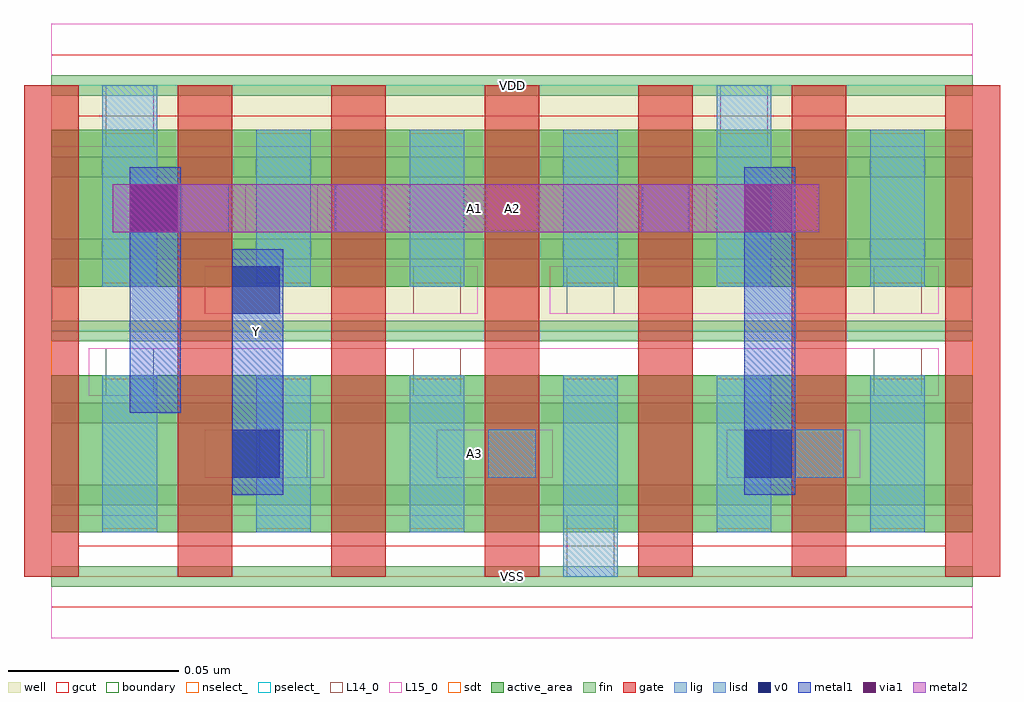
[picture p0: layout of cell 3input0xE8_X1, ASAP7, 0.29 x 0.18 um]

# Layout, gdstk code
import gdstk
lib = gdstk.Library(unit=1e-6, precision=1e-09)
def R(c, l, rs):  # rectangles x0, y0, x1, y1
    for r in rs: c.add(gdstk.rectangle(r[:2], r[2:], *l))
def A(c, l, x, y, w, h, nx, ny, dx, dy):  # array of equal rectangles
    R(c, l, [(x+i*dx, y+j*dy, x+i*dx+w, y+j*dy+h) for i in range(nx) for j in range(ny)])
def P(c, l, *ps):  # polygons
    for p in ps: c.add(gdstk.Polygon(p, *l))
well = (1, 0)
fin = (2, 0)
gate = (7, 0)
gcut = (10, 0)
active_area = (11, 0)
nselect_ = (12, 0)
pselect_ = (13, 0)
L14_0 = (14, 0)
L15_0 = (15, 0)
lig = (16, 0)
lisd = (17, 0)
v0 = (18, 0)
metal1 = (19, 0)
metal2 = (20, 0)
via1 = (21, 0)
sdt = (88, 0)
boundary = (100, 0)

c_3input0xe8_x1 = lib.new_cell('3input0xE8_X1')
R(c_3input0xe8_x1, well, [(0,0.072,0.27,0.144)])
A(c_3input0xe8_x1, fin, 0, -0.003, 0.27, 0.006, 1, 7, 0, 0.024)
A(c_3input0xe8_x1, gate, -0.008, 0, 0.016, 0.144, 7, 1, 0.045, 0)
P(c_3input0xe8_x1, gcut, [(0,-0.009),(0,0),(-0.008,0),(-0.008,0.135),(0.008,0.135),(0.008,0.009),(0.262,0.009),(0.262,0.135),(-0.008,0.135),(-0.008,0.144),(0,0.144),(0,0.153),(0.27,0.153),(0.27,0.144),(0.278,0.144),(0.278,0),(0.27,0),(0.27,-0.009)])
R(c_3input0xe8_x1, active_area, [(0,0.013,0.27,0.059), (0,0.085,0.27,0.131)])
R(c_3input0xe8_x1, nselect_, [(0,0,0.27,0.072)])
R(c_3input0xe8_x1, pselect_, [(0,0.072,0.27,0.144)])
R(c_3input0xe8_x1, L14_0, [(0.151,0,0.165,0.018), (0.061,0.029,0.075,0.043), (0.128,0.029,0.142,0.043), (0.218,0.029,0.232,0.043), (0.016,0.053,0.03,0.067), (0.106,0.053,0.12,0.067), (0.241,0.053,0.255,0.067), (0.106,0.077,0.12,0.091), (0.151,0.077,0.165,0.091), (0.241,0.077,0.255,0.091), (0.038,0.101,0.052,0.115), (0.083,0.101,0.097,0.115), (0.173,0.101,0.187,0.115), (0.016,0.126,0.03,0.144), (0.196,0.126,0.21,0.144)])
R(c_3input0xe8_x1, L15_0, [(0,-0.018,0.27,0.018), (0.045,0.029,0.08,0.043), (0.113,0.029,0.147,0.043), (0.198,0.029,0.237,0.043), (0.011,0.053,0.26,0.067), (0.045,0.077,0.125,0.091), (0.146,0.077,0.26,0.091), (0.018,0.101,0.057,0.115), (0.078,0.101,0.192,0.115), (0,0.126,0.27,0.162)])
R(c_3input0xe8_x1, lig, [(0.128,0.029,0.142,0.043), (0.218,0.029,0.232,0.043), (0.038,0.101,0.052,0.115), (0.083,0.101,0.097,0.115), (0.173,0.101,0.187,0.115)])
A(c_3input0xe8_x1, lisd, 0.015, 0.013, 0.016, 0.046, 3, 1, 0.045, 0)
A(c_3input0xe8_x1, lisd, 0.06, 0.085, 0.016, 0.046, 3, 1, 0.045, 0)
R(c_3input0xe8_x1, lisd, [(0.15,0,0.166,0.059), (0.195,0.013,0.211,0.059), (0.24,0.013,0.256,0.059), (0.015,0.085,0.031,0.144), (0.195,0.085,0.211,0.144), (0.24,0.085,0.256,0.131)])
R(c_3input0xe8_x1, v0, [(0.053,0.029,0.067,0.043), (0.203,0.029,0.217,0.043), (0.053,0.077,0.067,0.091), (0.023,0.101,0.037,0.115)])
R(c_3input0xe8_x1, metal1, [(0.053,0.024,0.068,0.096), (0.203,0.024,0.218,0.12), (0.023,0.048,0.038,0.12)])
R(c_3input0xe8_x1, metal2, [(0.018,0.101,0.225,0.115)])
R(c_3input0xe8_x1, via1, [(0.023,0.101,0.037,0.115), (0.203,0.101,0.217,0.115)])
A(c_3input0xe8_x1, sdt, 0.015, 0.014, 0.016, 0.044, 6, 2, 0.045, 0.072)
R(c_3input0xe8_x1, boundary, [(0,0,0.27,0.144)])
c_3input0xe8_x1.add(gdstk.Label('VSS', (0.135,0), layer=15, texttype=251))
c_3input0xe8_x1.add(gdstk.Label('VDD', (0.135,0.144), layer=15, texttype=251))
c_3input0xe8_x1.add(gdstk.Label('A3', (0.124,0.036), layer=15, texttype=251))
c_3input0xe8_x1.add(gdstk.Label('VSS', (0.135,0), layer=15, texttype=251))
c_3input0xe8_x1.add(gdstk.Label('VDD', (0.135,0.144), layer=15, texttype=251))
c_3input0xe8_x1.add(gdstk.Label('VSS', (0.135,0), layer=15, texttype=251))
c_3input0xe8_x1.add(gdstk.Label('VDD', (0.135,0.144), layer=15, texttype=251))
c_3input0xe8_x1.add(gdstk.Label('A2', (0.135,0.108), layer=15, texttype=251))
c_3input0xe8_x1.add(gdstk.Label('VSS', (0.135,0), layer=15, texttype=251))
c_3input0xe8_x1.add(gdstk.Label('VDD', (0.135,0.144), layer=15, texttype=251))
c_3input0xe8_x1.add(gdstk.Label('VSS', (0.135,0), layer=3, texttype=251))
c_3input0xe8_x1.add(gdstk.Label('VSS', (0.135,0), layer=3, texttype=251))
c_3input0xe8_x1.add(gdstk.Label('VSS', (0.135,0), layer=3, texttype=251))
c_3input0xe8_x1.add(gdstk.Label('VSS', (0.135,0), layer=3, texttype=251))
c_3input0xe8_x1.add(gdstk.Label('VDD', (0.135,0.144), layer=1, texttype=251))
c_3input0xe8_x1.add(gdstk.Label('VDD', (0.135,0.144), layer=1, texttype=251))
c_3input0xe8_x1.add(gdstk.Label('VDD', (0.135,0.144), layer=1, texttype=251))
c_3input0xe8_x1.add(gdstk.Label('VDD', (0.135,0.144), layer=1, texttype=251))
c_3input0xe8_x1.add(gdstk.Label('Y', (0.06,0.072), layer=19, texttype=251))
c_3input0xe8_x1.add(gdstk.Label('A1', (0.124,0.108), layer=20, texttype=251))

lib.write_gds('3input0xE8_X1.gds')
